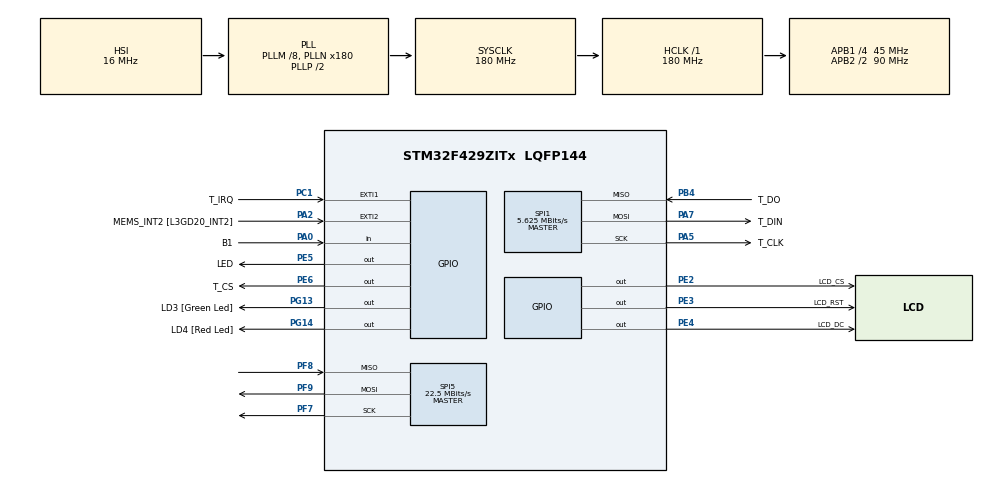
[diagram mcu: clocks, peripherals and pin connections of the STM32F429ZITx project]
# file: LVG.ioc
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Dma.Request0=SPI5_TX
Dma.Request1=SPI5_RX
Dma.SPI5_RX.1.Direction=DMA_PERIPH_TO_MEMORY
Dma.SPI5_RX.1.FIFOMode=DMA_FIFOMODE_DISABLE
Dma.SPI5_RX.1.Instance=DMA2_Stream3
Dma.SPI5_RX.1.MemDataAlignment=DMA_MDATAALIGN_BYTE
Dma.SPI5_RX.1.MemInc=DMA_MINC_ENABLE
Dma.SPI5_RX.1.Mode=DMA_CIRCULAR
Dma.SPI5_RX.1.PeriphDataAlignment=DMA_PDATAALIGN_BYTE
Dma.SPI5_RX.1.PeriphInc=DMA_PINC_DISABLE
Dma.SPI5_RX.1.Priority=DMA_PRIORITY_HIGH
Dma.SPI5_TX.0.Direction=DMA_MEMORY_TO_PERIPH
Dma.SPI5_TX.0.FIFOMode=DMA_FIFOMODE_DISABLE
Dma.SPI5_TX.0.Instance=DMA2_Stream4
Dma.SPI5_TX.0.MemDataAlignment=DMA_MDATAALIGN_BYTE
Dma.SPI5_TX.0.MemInc=DMA_MINC_ENABLE
Dma.SPI5_TX.0.Mode=DMA_NORMAL
Dma.SPI5_TX.0.PeriphDataAlignment=DMA_PDATAALIGN_BYTE
Dma.SPI5_TX.0.PeriphInc=DMA_PINC_DISABLE
Dma.SPI5_TX.0.Priority=DMA_PRIORITY_HIGH
Mcu.Family=STM32F4
Mcu.Name=STM32F429ZITx
Mcu.Package=LQFP144
NVIC.DMA2_Stream3_IRQn=true\:0\:0\:false\:false\:true\:false\:true\:true
NVIC.DMA2_Stream4_IRQn=true\:0\:0\:false\:false\:true\:false\:true\:true
NVIC.EXTI1_IRQn=true\:0\:0\:false\:false\:true\:true\:true\:true
NVIC.PriorityGroup=NVIC_PRIORITYGROUP_4
NVIC.SPI5_IRQn=true\:0\:0\:false\:false\:true\:true\:true\:true
NVIC.TIM1_TRG_COM_TIM11_IRQn=true\:15\:0\:false\:false\:true\:false\:true\:true
NVIC.TIM2_IRQn=true\:0\:0\:false\:false\:true\:true\:true\:true
NVIC.TIM6_DAC_IRQn=true\:0\:0\:false\:false\:true\:true\:true\:true
NVIC.TimeBase=TIM1_TRG_COM_TIM11_IRQn
NVIC.TimeBaseIP=TIM11
PA0/WKUP.GPIO_Label=B1
PA0/WKUP.Signal=GPIO_Input
PA10.GPIO_Label=STLINK_TX [STM32F103CBT6_PA2]
PA10.Signal=USART1_RX
PA11.GPIO_Label=R4
PA11.GPIO_Mode=GPIO_MODE_AF_PP
PA11.GPIO_PuPd=GPIO_NOPULL
PA11.GPIO_Speed=GPIO_SPEED_FREQ_LOW
PA11.Signal=LTDC_R4
PA12.GPIO_Label=R5
PA12.GPIO_Mode=GPIO_MODE_AF_PP
PA12.GPIO_PuPd=GPIO_NOPULL
PA12.GPIO_Speed=GPIO_SPEED_FREQ_LOW
PA12.Signal=LTDC_R5
PA13.GPIO_Label=SWDIO
PA13.Signal=SYS_JTMS-SWDIO
PA14.GPIO_Label=SWCLK
PA14.Signal=SYS_JTCK-SWCLK
PA2.GPIO_Label=MEMS_INT2 [L3GD20_INT2]
PA2.GPIO_ModeDefaultEXTI=GPIO_MODE_EVT_RISING
PA2.GPIO_PuPd=GPIO_NOPULL
PA2.Signal=GPXTI2
PA3.GPIO_Label=B5
PA3.GPIO_Mode=GPIO_MODE_AF_PP
PA3.GPIO_PuPd=GPIO_NOPULL
PA3.GPIO_Speed=GPIO_SPEED_FREQ_LOW
PA3.Signal=LTDC_B5
PA4.GPIO_Label=VSYNC
PA4.GPIO_Mode=GPIO_MODE_AF_PP
PA4.GPIO_PuPd=GPIO_NOPULL
PA4.GPIO_Speed=GPIO_SPEED_FREQ_LOW
PA4.Signal=LTDC_VSYNC
PA5.GPIO_Label=T_CLK
PA5.Mode=Full_Duplex_Master
PA5.Signal=SPI1_SCK
PA6.GPIO_Label=G2
PA6.GPIO_Mode=GPIO_MODE_AF_PP
PA6.GPIO_PuPd=GPIO_NOPULL
PA6.GPIO_Speed=GPIO_SPEED_FREQ_LOW
PA6.Signal=LTDC_G2
PA7.GPIO_Label=T_DIN
PA7.Mode=Full_Duplex_Master
PA7.Signal=SPI1_MOSI
PA8.GPIO_Label=I2C3_SCL [ACP/RF_SCL]
PA8.GPIO_Mode=GPIO_MODE_AF_OD
PA8.GPIO_PuPd=GPIO_NOPULL
PA8.GPIO_Speed=GPIO_SPEED_FREQ_LOW
PA8.Signal=I2C3_SCL
PA9.GPIO_Label=STLINK_RX [STM32F103CBT6_PA3]
PA9.Signal=USART1_TX
PB0.GPIO_Label=R3
PB0.GPIO_Mode=GPIO_MODE_AF_PP
PB0.GPIO_PuPd=GPIO_NOPULL
PB0.GPIO_Speed=GPIO_SPEED_FREQ_LOW
PB0.Signal=LTDC_R3
PB1.GPIO_Label=R6
PB1.GPIO_Mode=GPIO_MODE_AF_PP
PB1.GPIO_PuPd=GPIO_NOPULL
PB1.GPIO_Speed=GPIO_SPEED_FREQ_LOW
PB1.Signal=LTDC_R6
PB10.GPIO_Label=G4
PB10.GPIO_Mode=GPIO_MODE_AF_PP
PB10.GPIO_PuPd=GPIO_NOPULL
PB10.GPIO_Speed=GPIO_SPEED_FREQ_LOW
PB10.Signal=LTDC_G4
PB11.GPIO_Label=G5
PB11.GPIO_Mode=GPIO_MODE_AF_PP
PB11.GPIO_PuPd=GPIO_NOPULL
PB11.GPIO_Speed=GPIO_SPEED_FREQ_LOW
PB11.Signal=LTDC_G5
PB12.GPIO_Label=OTG_HS_ID
PB12.GPIO_Mode=GPIO_MODE_AF_PP
PB12.GPIO_PuPd=GPIO_NOPULL
PB12.GPIO_Speed=GPIO_SPEED_FREQ_LOW
PB12.Signal=USB_OTG_HS_ID
PB13.GPIO_Label=VBUS_HS
PB13.GPIO_Mode=GPIO_MODE_INPUT
PB13.GPIO_PuPd=GPIO_NOPULL
PB13.Signal=USB_OTG_HS_VBUS
PB14.GPIO_Label=OTG_HS_DM
PB14.GPIO_Mode=GPIO_MODE_AF_PP
PB14.GPIO_PuPd=GPIO_NOPULL
PB14.GPIO_Speed=GPIO_SPEED_FREQ_LOW
PB14.Signal=USB_OTG_HS_DM
PB15.GPIO_Label=OTG_HS_DP
PB15.GPIO_Mode=GPIO_MODE_AF_PP
PB15.GPIO_PuPd=GPIO_NOPULL
PB15.GPIO_Speed=GPIO_SPEED_FREQ_LOW
PB15.Signal=USB_OTG_HS_DP
PB4.GPIO_Label=T_DO
PB4.Mode=Full_Duplex_Master
PB4.Signal=SPI1_MISO
PB5.GPIO_Label=SDCKE1
PB5.GPIO_Mode=GPIO_MODE_AF_PP
PB5.GPIO_PuPd=GPIO_NOPULL
PB5.GPIO_Speed=GPIO_SPEED_FREQ_VERY_HIGH
PB5.Signal=FMC_SDCKE1
PB6.GPIO_Label=SDNE1 [SDRAM_CS]
PB6.GPIO_Mode=GPIO_MODE_AF_PP
PB6.GPIO_PuPd=GPIO_NOPULL
PB6.GPIO_Speed=GPIO_SPEED_FREQ_VERY_HIGH
PB6.Signal=FMC_SDNE1
PB8.GPIO_Label=B6
PB8.GPIO_Mode=GPIO_MODE_AF_PP
PB8.GPIO_PuPd=GPIO_NOPULL
PB8.GPIO_Speed=GPIO_SPEED_FREQ_LOW
PB8.Signal=LTDC_B6
PB9.GPIO_Label=B7
PB9.GPIO_Mode=GPIO_MODE_AF_PP
PB9.GPIO_PuPd=GPIO_NOPULL
PB9.GPIO_Speed=GPIO_SPEED_FREQ_LOW
PB9.Signal=LTDC_B7
PC1.GPIO_Label=T_IRQ
PC1.Signal=GPXTI1
PC10.GPIO_Label=R2
PC10.GPIO_Mode=GPIO_MODE_AF_PP
PC10.GPIO_PuPd=GPIO_NOPULL
PC10.GPIO_Speed=GPIO_SPEED_FREQ_LOW
PC10.Signal=LTDC_R2
PC6.GPIO_Label=HSYNC
PC6.GPIO_Mode=GPIO_MODE_AF_PP
PC6.GPIO_PuPd=GPIO_NOPULL
PC6.GPIO_Speed=GPIO_SPEED_FREQ_LOW
PC6.Signal=LTDC_HSYNC
PC7.GPIO_Label=G6
PC7.GPIO_Mode=GPIO_MODE_AF_PP
PC7.GPIO_PuPd=GPIO_NOPULL
PC7.GPIO_Speed=GPIO_SPEED_FREQ_LOW
PC7.Signal=LTDC_G6
PC9.GPIO_Label=I2C3_SDA [ACP/RF_SDA]
PC9.GPIO_Mode=GPIO_MODE_AF_OD
PC9.GPIO_PuPd=GPIO_NOPULL
PC9.GPIO_Speed=GPIO_SPEED_FREQ_LOW
PC9.Signal=I2C3_SDA
PD0.GPIO_Label=D2
PD0.GPIO_Mode=GPIO_MODE_AF_PP
PD0.GPIO_PuPd=GPIO_NOPULL
PD0.GPIO_Speed=GPIO_SPEED_FREQ_VERY_HIGH
PD0.Signal=FMC_D2_DA2
PD1.GPIO_Label=D3
PD1.GPIO_Mode=GPIO_MODE_AF_PP
PD1.GPIO_PuPd=GPIO_NOPULL
PD1.GPIO_Speed=GPIO_SPEED_FREQ_VERY_HIGH
PD1.Signal=FMC_D3_DA3
PD10.GPIO_Label=D15
PD10.GPIO_Mode=GPIO_MODE_AF_PP
PD10.GPIO_PuPd=GPIO_NOPULL
PD10.GPIO_Speed=GPIO_SPEED_FREQ_VERY_HIGH
PD10.Signal=FMC_D15_DA15
PD14.GPIO_Label=D0
PD14.GPIO_Mode=GPIO_MODE_AF_PP
PD14.GPIO_PuPd=GPIO_NOPULL
PD14.GPIO_Speed=GPIO_SPEED_FREQ_VERY_HIGH
PD14.Signal=FMC_D0_DA0
PD15.GPIO_Label=D1
PD15.GPIO_Mode=GPIO_MODE_AF_PP
PD15.GPIO_PuPd=GPIO_NOPULL
PD15.GPIO_Speed=GPIO_SPEED_FREQ_VERY_HIGH
PD15.Signal=FMC_D1_DA1
PD3.GPIO_Label=G7
PD3.GPIO_Mode=GPIO_MODE_AF_PP
PD3.GPIO_PuPd=GPIO_NOPULL
PD3.GPIO_Speed=GPIO_SPEED_FREQ_LOW
PD3.Signal=LTDC_G7
PD6.GPIO_Label=B2
PD6.GPIO_Mode=GPIO_MODE_AF_PP
PD6.GPIO_PuPd=GPIO_NOPULL
PD6.GPIO_Speed=GPIO_SPEED_FREQ_LOW
PD6.Signal=LTDC_B2
PD8.GPIO_Label=D13
PD8.GPIO_Mode=GPIO_MODE_AF_PP
PD8.GPIO_PuPd=GPIO_NOPULL
PD8.GPIO_Speed=GPIO_SPEED_FREQ_VERY_HIGH
PD8.Signal=FMC_D13_DA13
PD9.GPIO_Label=D14
PD9.GPIO_Mode=GPIO_MODE_AF_PP
PD9.GPIO_PuPd=GPIO_NOPULL
PD9.GPIO_Speed=GPIO_SPEED_FREQ_VERY_HIGH
PD9.Signal=FMC_D14_DA14
PE0.GPIO_Label=NBL0 [SDRAM_LDQM]
PE0.GPIO_Mode=GPIO_MODE_AF_PP
PE0.GPIO_PuPd=GPIO_NOPULL
PE0.GPIO_Speed=GPIO_SPEED_FREQ_VERY_HIGH
PE0.Signal=FMC_NBL0
PE1.GPIO_Label=NBL1 [SDRAM_UDQM]
PE1.GPIO_Mode=GPIO_MODE_AF_PP
PE1.GPIO_PuPd=GPIO_NOPULL
PE1.GPIO_Speed=GPIO_SPEED_FREQ_VERY_HIGH
PE1.Signal=FMC_NBL1
PE10.GPIO_Label=D7
PE10.GPIO_Mode=GPIO_MODE_AF_PP
PE10.GPIO_PuPd=GPIO_NOPULL
PE10.GPIO_Speed=GPIO_SPEED_FREQ_VERY_HIGH
PE10.Signal=FMC_D7_DA7
PE11.GPIO_Label=D8
PE11.GPIO_Mode=GPIO_MODE_AF_PP
PE11.GPIO_PuPd=GPIO_NOPULL
PE11.GPIO_Speed=GPIO_SPEED_FREQ_VERY_HIGH
PE11.Signal=FMC_D8_DA8
PE12.GPIO_Label=D9
PE12.GPIO_Mode=GPIO_MODE_AF_PP
PE12.GPIO_PuPd=GPIO_NOPULL
PE12.GPIO_Speed=GPIO_SPEED_FREQ_VERY_HIGH
PE12.Signal=FMC_D9_DA9
PE13.GPIO_Label=D10
PE13.GPIO_Mode=GPIO_MODE_AF_PP
PE13.GPIO_PuPd=GPIO_NOPULL
PE13.GPIO_Speed=GPIO_SPEED_FREQ_VERY_HIGH
PE13.Signal=FMC_D10_DA10
PE14.GPIO_Label=D11
PE14.GPIO_Mode=GPIO_MODE_AF_PP
PE14.GPIO_PuPd=GPIO_NOPULL
PE14.GPIO_Speed=GPIO_SPEED_FREQ_VERY_HIGH
PE14.Signal=FMC_D11_DA11
PE15.GPIO_Label=D12
PE15.GPIO_Mode=GPIO_MODE_AF_PP
PE15.GPIO_PuPd=GPIO_NOPULL
PE15.GPIO_Speed=GPIO_SPEED_FREQ_VERY_HIGH
PE15.Signal=FMC_D12_DA12
PE2.GPIO_Label=LCD_CS
PE2.GPIO_PuPd=GPIO_PULLUP
PE2.Signal=GPIO_Output
PE3.GPIO_Label=LCD_RST
PE3.GPIO_PuPd=GPIO_PULLUP
PE3.Signal=GPIO_Output
PE4.GPIO_Label=LCD_DC
PE4.GPIO_PuPd=GPIO_PULLUP
PE4.Signal=GPIO_Output
PE5.GPIO_Label=LED
PE5.Signal=GPIO_Output
PE6.GPIO_Label=T_CS
PE6.GPIO_PuPd=GPIO_PULLUP
PE6.Signal=GPIO_Output
PE7.GPIO_Label=D4
PE7.GPIO_Mode=GPIO_MODE_AF_PP
PE7.GPIO_PuPd=GPIO_NOPULL
PE7.GPIO_Speed=GPIO_SPEED_FREQ_VERY_HIGH
PE7.Signal=FMC_D4_DA4
PE8.GPIO_Label=D5
PE8.GPIO_Mode=GPIO_MODE_AF_PP
PE8.GPIO_PuPd=GPIO_NOPULL
PE8.GPIO_Speed=GPIO_SPEED_FREQ_VERY_HIGH
PE8.Signal=FMC_D5_DA5
PE9.GPIO_Label=D6
PE9.GPIO_Mode=GPIO_MODE_AF_PP
PE9.GPIO_PuPd=GPIO_NOPULL
PE9.GPIO_Speed=GPIO_SPEED_FREQ_VERY_HIGH
PE9.Signal=FMC_D6_DA6
PF11.GPIO_Label=SDNRAS
PF11.GPIO_Mode=GPIO_MODE_AF_PP
PF11.GPIO_PuPd=GPIO_NOPULL
PF11.GPIO_Speed=GPIO_SPEED_FREQ_VERY_HIGH
PF11.Signal=FMC_SDNRAS
PF12.GPIO_Label=A6
PF12.GPIO_Mode=GPIO_MODE_AF_PP
PF12.GPIO_PuPd=GPIO_NOPULL
PF12.GPIO_Speed=GPIO_SPEED_FREQ_VERY_HIGH
PF12.Signal=FMC_A6
PF13.GPIO_Label=A7
PF13.GPIO_Mode=GPIO_MODE_AF_PP
PF13.GPIO_PuPd=GPIO_NOPULL
PF13.GPIO_Speed=GPIO_SPEED_FREQ_VERY_HIGH
PF13.Signal=FMC_A7
PF14.GPIO_Label=A8
PF14.GPIO_Mode=GPIO_MODE_AF_PP
PF14.GPIO_PuPd=GPIO_NOPULL
PF14.GPIO_Speed=GPIO_SPEED_FREQ_VERY_HIGH
PF14.Signal=FMC_A8
PF15.GPIO_Label=A9
PF15.GPIO_Mode=GPIO_MODE_AF_PP
PF15.GPIO_PuPd=GPIO_NOPULL
PF15.GPIO_Speed=GPIO_SPEED_FREQ_VERY_HIGH
PF15.Signal=FMC_A9
PF7.Mode=Full_Duplex_Master
PF7.Signal=SPI5_SCK
PF8.Mode=Full_Duplex_Master
PF8.Signal=SPI5_MISO
PF9.Mode=Full_Duplex_Master
PF9.Signal=SPI5_MOSI
PG0.GPIO_Label=A10
PG0.GPIO_Mode=GPIO_MODE_AF_PP
PG0.GPIO_PuPd=GPIO_NOPULL
PG0.GPIO_Speed=GPIO_SPEED_FREQ_VERY_HIGH
PG0.Signal=FMC_A10
PG1.GPIO_Label=A11
PG1.GPIO_Mode=GPIO_MODE_AF_PP
PG1.GPIO_PuPd=GPIO_NOPULL
PG1.GPIO_Speed=GPIO_SPEED_FREQ_VERY_HIGH
PG1.Signal=FMC_A11
PG10.GPIO_Label=G3
PG10.GPIO_Mode=GPIO_MODE_AF_PP
PG10.GPIO_PuPd=GPIO_NOPULL
PG10.GPIO_Speed=GPIO_SPEED_FREQ_LOW
PG10.Signal=LTDC_G3
PG11.GPIO_Label=B3
PG11.GPIO_Mode=GPIO_MODE_AF_PP
PG11.GPIO_PuPd=GPIO_NOPULL
PG11.GPIO_Speed=GPIO_SPEED_FREQ_LOW
PG11.Signal=LTDC_B3
PG12.GPIO_Label=B4
PG12.GPIO_Mode=GPIO_MODE_AF_PP
PG12.GPIO_PuPd=GPIO_NOPULL
PG12.GPIO_Speed=GPIO_SPEED_FREQ_LOW
PG12.Signal=LTDC_B4
PG13.GPIO_Label=LD3 [Green Led]
PG13.GPIO_Mode=GPIO_MODE_OUTPUT_PP
PG13.GPIO_PuPd=GPIO_NOPULL
PG13.GPIO_Speed=GPIO_SPEED_FREQ_LOW
PG13.Signal=GPIO_Output
PG14.GPIO_Label=LD4 [Red Led]
PG14.GPIO_Mode=GPIO_MODE_OUTPUT_PP
PG14.GPIO_PuPd=GPIO_NOPULL
PG14.GPIO_Speed=GPIO_SPEED_FREQ_LOW
PG14.Signal=GPIO_Output
PG15.GPIO_Label=SDNCAS
PG15.GPIO_Mode=GPIO_MODE_AF_PP
PG15.GPIO_PuPd=GPIO_NOPULL
PG15.GPIO_Speed=GPIO_SPEED_FREQ_VERY_HIGH
PG15.Signal=FMC_SDNCAS
PG4.GPIO_Label=BA0
PG4.GPIO_Mode=GPIO_MODE_AF_PP
PG4.GPIO_PuPd=GPIO_NOPULL
PG4.GPIO_Speed=GPIO_SPEED_FREQ_VERY_HIGH
PG4.Signal=FMC_A14_BA0
PG5.GPIO_Label=BA1
PG5.GPIO_Mode=GPIO_MODE_AF_PP
PG5.GPIO_PuPd=GPIO_NOPULL
PG5.GPIO_Speed=GPIO_SPEED_FREQ_VERY_HIGH
PG5.Signal=FMC_A15_BA1
PG6.GPIO_Label=R7
PG6.GPIO_Mode=GPIO_MODE_AF_PP
PG6.GPIO_PuPd=GPIO_NOPULL
PG6.GPIO_Speed=GPIO_SPEED_FREQ_LOW
PG6.Signal=LTDC_R7
PG7.GPIO_Label=DOTCLK [LCT-RGB_DOTCLK]
PG7.GPIO_Mode=GPIO_MODE_AF_PP
PG7.GPIO_PuPd=GPIO_NOPULL
PG7.GPIO_Speed=GPIO_SPEED_FREQ_LOW
PG7.Signal=LTDC_CLK
PG8.GPIO_Label=SDCLK
PG8.GPIO_Mode=GPIO_MODE_AF_PP
PG8.GPIO_PuPd=GPIO_NOPULL
PG8.GPIO_Speed=GPIO_SPEED_FREQ_VERY_HIGH
PG8.Signal=FMC_SDCLK
ProjectManager.HeapSize=0x200
ProjectManager.StackSize=0xC00
ProjectManager.TargetToolchain=MDK-ARM V5
RCC.48MHZClocksFreq_Value=51428571.428571425
RCC.AHBFreq_Value=180000000
RCC.APB1CLKDivider=RCC_HCLK_DIV4
RCC.APB1Freq_Value=45000000
RCC.APB1TimFreq_Value=90000000
RCC.APB2CLKDivider=RCC_HCLK_DIV2
RCC.APB2Freq_Value=90000000
RCC.APB2TimFreq_Value=180000000
RCC.CortexFreq_Value=180000000
RCC.HCLKFreq_Value=180000000
RCC.HSE_VALUE=8000000
RCC.HSI_VALUE=16000000
RCC.LSE_VALUE=32768
RCC.PLLM=8
RCC.PLLN=180
RCC.PLLQ=7
RCC.SYSCLKFreq_VALUE=180000000
RCC.SYSCLKSource=RCC_SYSCLKSOURCE_PLLCLK
RCC.VCOOutputFreq_Value=360000000
SH.FMC_A10.0=FMC_A10
SH.FMC_A11.0=FMC_A11
SH.FMC_A14_BA0.0=FMC_BA0
SH.FMC_A15_BA1.0=FMC_BA1
SH.FMC_A6.0=FMC_A6
SH.FMC_A7.0=FMC_A7
SH.FMC_A8.0=FMC_A8
SH.FMC_A9.0=FMC_A9
SH.FMC_D0_DA0.0=FMC_D0
SH.FMC_D10_DA10.0=FMC_D10
SH.FMC_D11_DA11.0=FMC_D11
SH.FMC_D12_DA12.0=FMC_D12
SH.FMC_D13_DA13.0=FMC_D13
SH.FMC_D14_DA14.0=FMC_D14
SH.FMC_D15_DA15.0=FMC_D15
SH.FMC_D1_DA1.0=FMC_D1
SH.FMC_D2_DA2.0=FMC_D2
SH.FMC_D3_DA3.0=FMC_D3
SH.FMC_D4_DA4.0=FMC_D4
SH.FMC_D5_DA5.0=FMC_D5
SH.FMC_D6_DA6.0=FMC_D6
SH.FMC_D7_DA7.0=FMC_D7
SH.FMC_D8_DA8.0=FMC_D8
SH.FMC_D9_DA9.0=FMC_D9
SH.FMC_NBL0.0=FMC_NBL0
SH.FMC_NBL1.0=FMC_NBL1
SH.FMC_SDCLK.0=FMC_SDCLK
SH.FMC_SDNCAS.0=FMC_SDNCAS
SH.FMC_SDNRAS.0=FMC_SDNRAS
SPI1.BaudRatePrescaler=SPI_BAUDRATEPRESCALER_16
SPI1.CalculateBaudRate=5.625 MBits/s
SPI1.Direction=SPI_DIRECTION_2LINES
SPI1.Mode=SPI_MODE_MASTER
SPI1.VirtualType=VM_MASTER
SPI5.BaudRatePrescaler=SPI_BAUDRATEPRESCALER_4
SPI5.CalculateBaudRate=22.5 MBits/s
SPI5.DataSize=SPI_DATASIZE_8BIT
SPI5.Direction=SPI_DIRECTION_2LINES
SPI5.Mode=SPI_MODE_MASTER
SPI5.VirtualType=VM_MASTER
STMicroelectronics.X-CUBE-TOUCHGFX.4.20.0.ApplicationCcGraphicsJjApplication=TouchGFXOoGenerator
STMicroelectronics.X-CUBE-TOUCHGFX.4.20.0.tgfx_buffering_strategy=Partial
STMicroelectronics.X-CUBE-TOUCHGFX.4.20.0.tgfx_custom_height=240
STMicroelectronics.X-CUBE-TOUCHGFX.4.20.0.tgfx_custom_width=320
STMicroelectronics.X-CUBE-TOUCHGFX.4.20.0.tgfx_datareader=Disabled
STMicroelectronics.X-CUBE-TOUCHGFX.4.20.0.tgfx_hardware_accelerator=dma_none
STMicroelectronics.X-CUBE-TOUCHGFX.4.20.0.tgfx_oswrapper=NoOS
STMicroelectronics.X-CUBE-TOUCHGFX.4.20.0_IsPackSelfContextualization=true
TIM2.Period=50000
TIM2.Prescaler=100-1
TIM6.Period=16800
TIM6.Prescaler=3999
VP_CRC_VS_CRC.Mode=CRC_Activate
VP_STMicroelectronics.X-CUBE-TOUCHGFX_VS_GraphicsJjApplication_4.20.0.Mode=GraphicsJjApplication
VP_SYS_VS_tim11.Mode=TIM11
VP_TIM2_VS_ClockSourceINT.Mode=Internal
VP_TIM6_VS_ClockSourceINT.Mode=Enable_Timer
board=STM32F429I-DISC1

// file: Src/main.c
/* USER CODE BEGIN Header */
/**
  ******************************************************************************
  * @file           : main.c
  * @brief          : Main program body
  ******************************************************************************
  * @attention
  *
  * Copyright (c) 2022 STMicroelectronics.
  * All rights reserved.
  *
  * This software is licensed under terms that can be found in the LICENSE file
  * in the root directory of this software component.
  * If no LICENSE file comes with this software, it is provided AS-IS.
  *
  ******************************************************************************
  */
/* USER CODE END Header */
#include "main.h"
#include "app_touchgfx.h"

/* USER CODE BEGIN Includes */

#include "ili9341.h"
#include "xpt2046.h"

/* USER CODE END Includes */

CRC_HandleTypeDef hcrc;

SPI_HandleTypeDef hspi1;
SPI_HandleTypeDef hspi5;
DMA_HandleTypeDef hdma_spi5_tx;
DMA_HandleTypeDef hdma_spi5_rx;

TIM_HandleTypeDef htim2;
TIM_HandleTypeDef htim6;

void SystemClock_Config(void);
static void MX_GPIO_Init(void);
static void MX_DMA_Init(void);
static void MX_TIM6_Init(void);
static void MX_SPI1_Init(void);
static void MX_SPI5_Init(void);
static void MX_CRC_Init(void);
static void MX_TIM2_Init(void);

/* USER CODE BEGIN 0 */
#define Set_RST    HAL_GPIO_WritePin(GPIOE,GPIO_PIN_3,GPIO_PIN_SET);   //RST=1;
#define Clr_RST    HAL_GPIO_WritePin(GPIOE,GPIO_PIN_3,GPIO_PIN_RESET); //RST=0; E3

#define Set_DC 		HAL_GPIO_WritePin(GPIOE,GPIO_PIN_4,GPIO_PIN_SET);   //DC=1;   E4
#define Clr_DC 		HAL_GPIO_WritePin(GPIOE,GPIO_PIN_4,GPIO_PIN_RESET); //DC=0;

#define Set_CS 		HAL_GPIO_WritePin(GPIOE,GPIO_PIN_2,GPIO_PIN_SET);    //CS=1;  E2
#define Clr_CS 		HAL_GPIO_WritePin(GPIOE,GPIO_PIN_2,GPIO_PIN_RESET);  //CS=0;

void ILI9341_SendCommand(uint8_t Command)
{
uint8_t SPI_Data = Command;
Clr_DC;
//Clr_CS;
HAL_SPI_Transmit(&hspi5, &SPI_Data, 1, HAL_MAX_DELAY);
 // HAL_SPI_Transmit_DMA(&hspi5, &SPI_Data,1);
 //Set_CS;
}

void ILI9341_SendData(uint8_t Data)
{
uint8_t SPI_Data = Data;
Set_DC;
//Clr_CS;
 HAL_SPI_Transmit(&hspi5, &SPI_Data, 1, HAL_MAX_DELAY);
 // HAL_SPI_Transmit_DMA(&hspi5, &SPI_Data, 1);
// Set_CS;

}

 void ili9341_hspi_init()
{
	 Set_RST;
   //Clr_CS;
	// Set_CS;

   ILI9341_SendCommand (ILI9341_RESET);  //'01'// software reset comand
   HAL_Delay(100);
   ILI9341_SendCommand (ILI9341_DISPLAY_OFF); // display off 0x28
   //------------power control------------------------------
   ILI9341_SendCommand (ILI9341_POWER1); // power control '0xC0'
   ILI9341_SendData   (0x26); // GVDD = 4.75v
   ILI9341_SendCommand (ILI9341_POWER2); // power control '0xC1'
   ILI9341_SendData   (0x11); // AVDD=VCIx2, VGH=VCIx7, VGL=-VCIx3
   //--------------VCOM-------------------------------------
   ILI9341_SendCommand (ILI9341_VCOM1); // vcom control   '0xC5'
   ILI9341_SendData   (0x35); // Set the VCOMH voltage (0x35 = 4.025v)
   ILI9341_SendData   (0x3e); // Set the VCOML voltage (0x3E = -0.950v)
   ILI9341_SendCommand (ILI9341_VCOM2); // vcom control  '0xC7'
   ILI9341_SendData   (0xbe);

   //------------memory access control------------------------
   ILI9341_SendCommand (ILI9341_MAC); // memory access control  '0x36'
   ILI9341_SendData(0x48);

   ILI9341_SendCommand (ILI9341_PIXEL_FORMAT); // pixel format set '0x3A'
   ILI9341_SendData   (0x55); // 16bit /pixel

	 ILI9341_SendCommand(ILI9341_FRC);         //'0xB1'
   ILI9341_SendData(0);
   ILI9341_SendData(0x1F);
   //-------------ddram ----------------------------
   ILI9341_SendCommand (ILI9341_COLUMN_ADDR); // column set  '0x2A'
   ILI9341_SendData   (0x00); // x0_HIGH---0
   ILI9341_SendData   (0x00); // x0_LOW----0
   ILI9341_SendData   (0x00); // x1_HIGH---240
   ILI9341_SendData   (0xEF); // x1_LOW----240
   ILI9341_SendCommand (ILI9341_PAGE_ADDR); // page address set  '0x2B'
   ILI9341_SendData   (0x00); // y0_HIGH---0
   ILI9341_SendData   (0x00); // y0_LOW----0
   ILI9341_SendData   (0x01); // y1_HIGH---320
   ILI9341_SendData   (0x3F); // y1_LOW----320

   ILI9341_SendCommand (ILI9341_TEARING_OFF); // tearing effect off   '0x34'
   //LCD_write_cmd(ILI9341_TEARING_ON); // tearing effect on
   //LCD_write_cmd(ILI9341_DISPLAY_INVERSION); // display inversion   '0xb4'
   ILI9341_SendCommand (ILI9341_Entry_Mode_Set); // entry mode set    '0xB7'
   // Deep Standby Mode: OFF
   // Set the output level of gate driver G1-G320: Normal display
   // Low voltage detection: Disable
   ILI9341_SendData   (0x07);
   //-----------------display------------------------
   ILI9341_SendCommand (ILI9341_DFC); // display function control
   //Set the scan mode in non-display area    '0xB6'
   //Determine source/VCOM output in a non-display area in the partial display mode
   ILI9341_SendData   (0x0a);
   //Select whether the liquid crystal type is normally white type or normally black type
   //Sets the direction of scan by the gate driver in the range determined by SCN and NL
   //Select the shift direction of outputs from the source driver
   //Sets the gate driver pin arrangement in combination with the GS bit to select the optimal scan mode for the module
   //Specify the scan cycle interval of gate driver in non-display area when PTG to select interval scan
   ILI9341_SendData   (0x82);
   // Sets the number of lines to drive the LCD at an interval of 8 lines
   ILI9341_SendData   (0x27);
   ILI9341_SendData   (0x00); // clock divisor

   ILI9341_SendCommand (ILI9341_SLEEP_OUT); // sleep out   '0x11'
   HAL_Delay(100);
   ILI9341_SendCommand (ILI9341_DISPLAY_ON); // display on   '0x29'
   HAL_Delay(100);
   ILI9341_SendCommand (ILI9341_GRAM); // memory write    '0x2C'
   HAL_Delay(5);
 }

/* USER CODE END 0 */

int main(void)
{

  /* MCU Configuration--------------------------------------------------------*/

  /* Reset of all peripherals, Initializes the Flash interface and the Systick. */
  HAL_Init();

  /* Configure the system clock */
  SystemClock_Config();

  /* Initialize all configured peripherals */
  MX_GPIO_Init();
  MX_DMA_Init();
  MX_TIM6_Init();
  MX_SPI1_Init();
  MX_SPI5_Init();
  MX_CRC_Init();
  MX_TIM2_Init();
  MX_TouchGFX_Init();
  /* USER CODE BEGIN 2 */

   HAL_TIM_Base_Start_IT(&htim6);
	 HAL_TIM_Base_Start_IT(&htim2);
	  ili9341_hspi_init();
	//ILI9341_Fill(COLOR_RED);
  	XPT2046_Init();
	  ILI9341_setRotation(4);

  /* USER CODE END 2 */

  /* Infinite loop */
  while (1)
  {

  MX_TouchGFX_Process();
  }
}

void SystemClock_Config(void)
{
  RCC_OscInitTypeDef RCC_OscInitStruct = {0};
  RCC_ClkInitTypeDef RCC_ClkInitStruct = {0};

  /** Configure the main internal regulator output voltage
  */
  __HAL_RCC_PWR_CLK_ENABLE();
  __HAL_PWR_VOLTAGESCALING_CONFIG(PWR_REGULATOR_VOLTAGE_SCALE1);

  /** Initializes the RCC Oscillators according to the specified parameters
  * in the RCC_OscInitTypeDef structure.
  */
  RCC_OscInitStruct.OscillatorType = RCC_OSCILLATORTYPE_HSI;
  RCC_OscInitStruct.HSIState = RCC_HSI_ON;
  RCC_OscInitStruct.HSICalibrationValue = RCC_HSICALIBRATION_DEFAULT;
  RCC_OscInitStruct.PLL.PLLState = RCC_PLL_ON;
  RCC_OscInitStruct.PLL.PLLSource = RCC_PLLSOURCE_HSI;
  RCC_OscInitStruct.PLL.PLLM = 8;
  RCC_OscInitStruct.PLL.PLLN = 180;
  RCC_OscInitStruct.PLL.PLLP = RCC_PLLP_DIV2;
  RCC_OscInitStruct.PLL.PLLQ = 7;
  if (HAL_RCC_OscConfig(&RCC_OscInitStruct) != HAL_OK)
  {
    Error_Handler();
  }

  /** Activate the Over-Drive mode
  */
  if (HAL_PWREx_EnableOverDrive() != HAL_OK)
  {
    Error_Handler();
  }

  /** Initializes the CPU, AHB and APB buses clocks
  */
  RCC_ClkInitStruct.ClockType = RCC_CLOCKTYPE_HCLK|RCC_CLOCKTYPE_SYSCLK
                              |RCC_CLOCKTYPE_PCLK1|RCC_CLOCKTYPE_PCLK2;
  RCC_ClkInitStruct.SYSCLKSource = RCC_SYSCLKSOURCE_PLLCLK;
  RCC_ClkInitStruct.AHBCLKDivider = RCC_SYSCLK_DIV1;
  RCC_ClkInitStruct.APB1CLKDivider = RCC_HCLK_DIV4;
  RCC_ClkInitStruct.APB2CLKDivider = RCC_HCLK_DIV2;

  if (HAL_RCC_ClockConfig(&RCC_ClkInitStruct, FLASH_LATENCY_5) != HAL_OK)
  {
    Error_Handler();
  }
}

static void MX_CRC_Init(void)
{

  hcrc.Instance = CRC;
  if (HAL_CRC_Init(&hcrc) != HAL_OK)
  {
    Error_Handler();
  }

}

static void MX_SPI1_Init(void)
{

  /* SPI1 parameter configuration*/
  hspi1.Instance = SPI1;
  hspi1.Init.Mode = SPI_MODE_MASTER;
  hspi1.Init.Direction = SPI_DIRECTION_2LINES;
  hspi1.Init.DataSize = SPI_DATASIZE_8BIT;
  hspi1.Init.CLKPolarity = SPI_POLARITY_LOW;
  hspi1.Init.CLKPhase = SPI_PHASE_1EDGE;
  hspi1.Init.NSS = SPI_NSS_SOFT;
  hspi1.Init.BaudRatePrescaler = SPI_BAUDRATEPRESCALER_16;
  hspi1.Init.FirstBit = SPI_FIRSTBIT_MSB;
  hspi1.Init.TIMode = SPI_TIMODE_DISABLE;
  hspi1.Init.CRCCalculation = SPI_CRCCALCULATION_DISABLE;
  hspi1.Init.CRCPolynomial = 10;
  if (HAL_SPI_Init(&hspi1) != HAL_OK)
  {
    Error_Handler();
  }

}

static void MX_SPI5_Init(void)
{

  /* SPI5 parameter configuration*/
  hspi5.Instance = SPI5;
  hspi5.Init.Mode = SPI_MODE_MASTER;
  hspi5.Init.Direction = SPI_DIRECTION_2LINES;
  hspi5.Init.DataSize = SPI_DATASIZE_8BIT;
  hspi5.Init.CLKPolarity = SPI_POLARITY_LOW;
  hspi5.Init.CLKPhase = SPI_PHASE_1EDGE;
  hspi5.Init.NSS = SPI_NSS_SOFT;
  hspi5.Init.BaudRatePrescaler = SPI_BAUDRATEPRESCALER_4;
  hspi5.Init.FirstBit = SPI_FIRSTBIT_MSB;
  hspi5.Init.TIMode = SPI_TIMODE_DISABLE;
  hspi5.Init.CRCCalculation = SPI_CRCCALCULATION_DISABLE;
  hspi5.Init.CRCPolynomial = 10;
  if (HAL_SPI_Init(&hspi5) != HAL_OK)
  {
    Error_Handler();
  }

}

static void MX_TIM2_Init(void)
{

  TIM_ClockConfigTypeDef sClockSourceConfig = {0};
  TIM_MasterConfigTypeDef sMasterConfig = {0};

  htim2.Instance = TIM2;
  htim2.Init.Prescaler = 100-1;
  htim2.Init.CounterMode = TIM_COUNTERMODE_UP;
  htim2.Init.Period = 50000;
  htim2.Init.ClockDivision = TIM_CLOCKDIVISION_DIV1;
  htim2.Init.AutoReloadPreload = TIM_AUTORELOAD_PRELOAD_DISABLE;
  if (HAL_TIM_Base_Init(&htim2) != HAL_OK)
  {
    Error_Handler();
  }
  sClockSourceConfig.ClockSource = TIM_CLOCKSOURCE_INTERNAL;
  if (HAL_TIM_ConfigClockSource(&htim2, &sClockSourceConfig) != HAL_OK)
  {
    Error_Handler();
  }
  sMasterConfig.MasterOutputTrigger = TIM_TRGO_RESET;
  sMasterConfig.MasterSlaveMode = TIM_MASTERSLAVEMODE_DISABLE;
  if (HAL_TIMEx_MasterConfigSynchronization(&htim2, &sMasterConfig) != HAL_OK)
  {
    Error_Handler();
  }

}

static void MX_TIM6_Init(void)
{

  TIM_MasterConfigTypeDef sMasterConfig = {0};

  htim6.Instance = TIM6;
  htim6.Init.Prescaler = 3999;
  htim6.Init.CounterMode = TIM_COUNTERMODE_UP;
  htim6.Init.Period = 16800;
  htim6.Init.AutoReloadPreload = TIM_AUTORELOAD_PRELOAD_DISABLE;
  if (HAL_TIM_Base_Init(&htim6) != HAL_OK)
  {
    Error_Handler();
  }
  sMasterConfig.MasterOutputTrigger = TIM_TRGO_RESET;
  sMasterConfig.MasterSlaveMode = TIM_MASTERSLAVEMODE_DISABLE;
  if (HAL_TIMEx_MasterConfigSynchronization(&htim6, &sMasterConfig) != HAL_OK)
  {
    Error_Handler();
  }

}

static void MX_DMA_Init(void)
{

  /* DMA controller clock enable */
  __HAL_RCC_DMA2_CLK_ENABLE();

  /* DMA interrupt init */
  /* DMA2_Stream3_IRQn interrupt configuration */
  HAL_NVIC_SetPriority(DMA2_Stream3_IRQn, 0, 0);
  HAL_NVIC_EnableIRQ(DMA2_Stream3_IRQn);
  /* DMA2_Stream4_IRQn interrupt configuration */
  HAL_NVIC_SetPriority(DMA2_Stream4_IRQn, 0, 0);
  HAL_NVIC_EnableIRQ(DMA2_Stream4_IRQn);

}

static void MX_GPIO_Init(void)
{
  GPIO_InitTypeDef GPIO_InitStruct = {0};

  /* GPIO Ports Clock Enable */
  __HAL_RCC_GPIOE_CLK_ENABLE();
  __HAL_RCC_GPIOF_CLK_ENABLE();
  __HAL_RCC_GPIOC_CLK_ENABLE();
  __HAL_RCC_GPIOA_CLK_ENABLE();
  __HAL_RCC_GPIOB_CLK_ENABLE();
  __HAL_RCC_GPIOG_CLK_ENABLE();
  __HAL_RCC_GPIOD_CLK_ENABLE();

  /*Configure GPIO pin Output Level */
  HAL_GPIO_WritePin(GPIOE, LCD_CS_Pin|LCD_RST_Pin|LCD_DC_Pin|LED_Pin
                          |T_CS_Pin, GPIO_PIN_RESET);

  /*Configure GPIO pin Output Level */
  HAL_GPIO_WritePin(GPIOG, LD3_Pin|LD4_Pin, GPIO_PIN_RESET);

  /*Configure GPIO pins : LCD_CS_Pin LCD_RST_Pin LCD_DC_Pin T_CS_Pin */
  GPIO_InitStruct.Pin = LCD_CS_Pin|LCD_RST_Pin|LCD_DC_Pin|T_CS_Pin;
  GPIO_InitStruct.Mode = GPIO_MODE_OUTPUT_PP;
  GPIO_InitStruct.Pull = GPIO_PULLUP;
  GPIO_InitStruct.Speed = GPIO_SPEED_FREQ_LOW;
  HAL_GPIO_Init(GPIOE, &GPIO_InitStruct);

  /*Configure GPIO pin : LED_Pin */
  GPIO_InitStruct.Pin = LED_Pin;
  GPIO_InitStruct.Mode = GPIO_MODE_OUTPUT_PP;
  GPIO_InitStruct.Pull = GPIO_NOPULL;
  GPIO_InitStruct.Speed = GPIO_SPEED_FREQ_LOW;
  HAL_GPIO_Init(LED_GPIO_Port, &GPIO_InitStruct);

  /*Configure GPIO pin : T_IRQ_Pin */
  GPIO_InitStruct.Pin = T_IRQ_Pin;
  GPIO_InitStruct.Mode = GPIO_MODE_IT_RISING;
  GPIO_InitStruct.Pull = GPIO_NOPULL;
  HAL_GPIO_Init(T_IRQ_GPIO_Port, &GPIO_InitStruct);

  /*Configure GPIO pin : B1_Pin */
  GPIO_InitStruct.Pin = B1_Pin;
  GPIO_InitStruct.Mode = GPIO_MODE_INPUT;
  GPIO_InitStruct.Pull = GPIO_NOPULL;
  HAL_GPIO_Init(B1_GPIO_Port, &GPIO_InitStruct);

  /*Configure GPIO pin : MEMS_INT2_Pin */
  GPIO_InitStruct.Pin = MEMS_INT2_Pin;
  GPIO_InitStruct.Mode = GPIO_MODE_EVT_RISING;
  GPIO_InitStruct.Pull = GPIO_NOPULL;
  HAL_GPIO_Init(MEMS_INT2_GPIO_Port, &GPIO_InitStruct);

  /*Configure GPIO pins : B5_Pin VSYNC_Pin G2_Pin R4_Pin
                           R5_Pin */
  GPIO_InitStruct.Pin = B5_Pin|VSYNC_Pin|G2_Pin|R4_Pin
                          |R5_Pin;
  GPIO_InitStruct.Mode = GPIO_MODE_AF_PP;
  GPIO_InitStruct.Pull = GPIO_NOPULL;
  GPIO_InitStruct.Speed = GPIO_SPEED_FREQ_LOW;
  GPIO_InitStruct.Alternate = GPIO_AF14_LTDC;
  HAL_GPIO_Init(GPIOA, &GPIO_InitStruct);

  /*Configure GPIO pins : R3_Pin R6_Pin */
  GPIO_InitStruct.Pin = R3_Pin|R6_Pin;
  GPIO_InitStruct.Mode = GPIO_MODE_AF_PP;
  GPIO_InitStruct.Pull = GPIO_NOPULL;
  GPIO_InitStruct.Speed = GPIO_SPEED_FREQ_LOW;
  GPIO_InitStruct.Alternate = GPIO_AF9_LTDC;
  HAL_GPIO_Init(GPIOB, &GPIO_InitStruct);

  /*Configure GPIO pins : SDNRAS_Pin A6_Pin A7_Pin A8_Pin
                           A9_Pin */
  GPIO_InitStruct.Pin = SDNRAS_Pin|A6_Pin|A7_Pin|A8_Pin
                          |A9_Pin;
  GPIO_InitStruct.Mode = GPIO_MODE_AF_PP;
  GPIO_InitStruct.Pull = GPIO_NOPULL;
  GPIO_InitStruct.Speed = GPIO_SPEED_FREQ_VERY_HIGH;
  GPIO_InitStruct.Alternate = GPIO_AF12_FMC;
  HAL_GPIO_Init(GPIOF, &GPIO_InitStruct);

  /*Configure GPIO pins : A10_Pin A11_Pin BA0_Pin BA1_Pin
                           SDCLK_Pin SDNCAS_Pin */
  GPIO_InitStruct.Pin = A10_Pin|A11_Pin|BA0_Pin|BA1_Pin
                          |SDCLK_Pin|SDNCAS_Pin;
  GPIO_InitStruct.Mode = GPIO_MODE_AF_PP;
  GPIO_InitStruct.Pull = GPIO_NOPULL;
  GPIO_InitStruct.Speed = GPIO_SPEED_FREQ_VERY_HIGH;
  GPIO_InitStruct.Alternate = GPIO_AF12_FMC;
  HAL_GPIO_Init(GPIOG, &GPIO_InitStruct);

  /*Configure GPIO pins : D4_Pin D5_Pin D6_Pin D7_Pin
                           D8_Pin D9_Pin D10_Pin D11_Pin
                           D12_Pin NBL0_Pin NBL1_Pin */
  GPIO_InitStruct.Pin = D4_Pin|D5_Pin|D6_Pin|D7_Pin
                          |D8_Pin|D9_Pin|D10_Pin|D11_Pin
                          |D12_Pin|NBL0_Pin|NBL1_Pin;
  GPIO_InitStruct.Mode = GPIO_MODE_AF_PP;
  GPIO_InitStruct.Pull = GPIO_NOPULL;
  GPIO_InitStruct.Speed = GPIO_SPEED_FREQ_VERY_HIGH;
  GPIO_InitStruct.Alternate = GPIO_AF12_FMC;
  HAL_GPIO_Init(GPIOE, &GPIO_InitStruct);

  /*Configure GPIO pins : G4_Pin G5_Pin B6_Pin B7_Pin */
  GPIO_InitStruct.Pin = G4_Pin|G5_Pin|B6_Pin|B7_Pin;
  GPIO_InitStruct.Mode = GPIO_MODE_AF_PP;
  GPIO_InitStruct.Pull = GPIO_NOPULL;
  GPIO_InitStruct.Speed = GPIO_SPEED_FREQ_LOW;
  GPIO_InitStruct.Alternate = GPIO_AF14_LTDC;
  HAL_GPIO_Init(GPIOB, &GPIO_InitStruct);

  /*Configure GPIO pins : OTG_HS_ID_Pin OTG_HS_DM_Pin OTG_HS_DP_Pin */
  GPIO_InitStruct.Pin = OTG_HS_ID_Pin|OTG_HS_DM_Pin|OTG_HS_DP_Pin;
  GPIO_InitStruct.Mode = GPIO_MODE_AF_PP;
  GPIO_InitStruct.Pull = GPIO_NOPULL;
  GPIO_InitStruct.Speed = GPIO_SPEED_FREQ_LOW;
  GPIO_InitStruct.Alternate = GPIO_AF12_OTG_HS_FS;
  HAL_GPIO_Init(GPIOB, &GPIO_InitStruct);

  /*Configure GPIO pin : VBUS_HS_Pin */
  GPIO_InitStruct.Pin = VBUS_HS_Pin;
  GPIO_InitStruct.Mode = GPIO_MODE_INPUT;
  GPIO_InitStruct.Pull = GPIO_NOPULL;
  HAL_GPIO_Init(VBUS_HS_GPIO_Port, &GPIO_InitStruct);

  /*Configure GPIO pins : D13_Pin D14_Pin D15_Pin D0_Pin
                           D1_Pin D2_Pin D3_Pin */
  GPIO_InitStruct.Pin = D13_Pin|D14_Pin|D15_Pin|D0_Pin
                          |D1_Pin|D2_Pin|D3_Pin;
  GPIO_InitStruct.Mode = GPIO_MODE_AF_PP;
  GPIO_InitStruct.Pull = GPIO_NOPULL;
  GPIO_InitStruct.Speed = GPIO_SPEED_FREQ_VERY_HIGH;
  GPIO_InitStruct.Alternate = GPIO_AF12_FMC;
  HAL_GPIO_Init(GPIOD, &GPIO_InitStruct);

  /*Configure GPIO pins : R7_Pin DOTCLK_Pin B3_Pin */
  GPIO_InitStruct.Pin = R7_Pin|DOTCLK_Pin|B3_Pin;
  GPIO_InitStruct.Mode = GPIO_MODE_AF_PP;
  GPIO_InitStruct.Pull = GPIO_NOPULL;
  GPIO_InitStruct.Speed = GPIO_SPEED_FREQ_LOW;
  GPIO_InitStruct.Alternate = GPIO_AF14_LTDC;
  HAL_GPIO_Init(GPIOG, &GPIO_InitStruct);

  /*Configure GPIO pins : HSYNC_Pin G6_Pin R2_Pin */
  GPIO_InitStruct.Pin = HSYNC_Pin|G6_Pin|R2_Pin;
  GPIO_InitStruct.Mode = GPIO_MODE_AF_PP;
  GPIO_InitStruct.Pull = GPIO_NOPULL;
  GPIO_InitStruct.Speed = GPIO_SPEED_FREQ_LOW;
  GPIO_InitStruct.Alternate = GPIO_AF14_LTDC;
  HAL_GPIO_Init(GPIOC, &GPIO_InitStruct);

  /*Configure GPIO pin : I2C3_SDA_Pin */
  GPIO_InitStruct.Pin = I2C3_SDA_Pin;
  GPIO_InitStruct.Mode = GPIO_MODE_AF_OD;
  GPIO_InitStruct.Pull = GPIO_NOPULL;
  GPIO_InitStruct.Speed = GPIO_SPEED_FREQ_LOW;
  GPIO_InitStruct.Alternate = GPIO_AF4_I2C3;
  HAL_GPIO_Init(I2C3_SDA_GPIO_Port, &GPIO_InitStruct);

  /*Configure GPIO pin : I2C3_SCL_Pin */
  GPIO_InitStruct.Pin = I2C3_SCL_Pin;
  GPIO_InitStruct.Mode = GPIO_MODE_AF_OD;
  GPIO_InitStruct.Pull = GPIO_NOPULL;
  GPIO_InitStruct.Speed = GPIO_SPEED_FREQ_LOW;
  GPIO_InitStruct.Alternate = GPIO_AF4_I2C3;
  HAL_GPIO_Init(I2C3_SCL_GPIO_Port, &GPIO_InitStruct);

  /*Configure GPIO pins : STLINK_RX_Pin STLINK_TX_Pin */
  GPIO_InitStruct.Pin = STLINK_RX_Pin|STLINK_TX_Pin;
  GPIO_InitStruct.Mode = GPIO_MODE_AF_PP;
  GPIO_InitStruct.Pull = GPIO_NOPULL;
  GPIO_InitStruct.Speed = GPIO_SPEED_FREQ_VERY_HIGH;
  GPIO_InitStruct.Alternate = GPIO_AF7_USART1;
  HAL_GPIO_Init(GPIOA, &GPIO_InitStruct);

  /*Configure GPIO pins : G7_Pin B2_Pin */
  GPIO_InitStruct.Pin = G7_Pin|B2_Pin;
  GPIO_InitStruct.Mode = GPIO_MODE_AF_PP;
  GPIO_InitStruct.Pull = GPIO_NOPULL;
  GPIO_InitStruct.Speed = GPIO_SPEED_FREQ_LOW;
  GPIO_InitStruct.Alternate = GPIO_AF14_LTDC;
  HAL_GPIO_Init(GPIOD, &GPIO_InitStruct);

  /*Configure GPIO pins : G3_Pin B4_Pin */
  GPIO_InitStruct.Pin = G3_Pin|B4_Pin;
  GPIO_InitStruct.Mode = GPIO_MODE_AF_PP;
  GPIO_InitStruct.Pull = GPIO_NOPULL;
  GPIO_InitStruct.Speed = GPIO_SPEED_FREQ_LOW;
  GPIO_InitStruct.Alternate = GPIO_AF9_LTDC;
  HAL_GPIO_Init(GPIOG, &GPIO_InitStruct);

  /*Configure GPIO pins : LD3_Pin LD4_Pin */
  GPIO_InitStruct.Pin = LD3_Pin|LD4_Pin;
  GPIO_InitStruct.Mode = GPIO_MODE_OUTPUT_PP;
  GPIO_InitStruct.Pull = GPIO_NOPULL;
  GPIO_InitStruct.Speed = GPIO_SPEED_FREQ_LOW;
  HAL_GPIO_Init(GPIOG, &GPIO_InitStruct);

  /*Configure GPIO pins : SDCKE1_Pin SDNE1_Pin */
  GPIO_InitStruct.Pin = SDCKE1_Pin|SDNE1_Pin;
  GPIO_InitStruct.Mode = GPIO_MODE_AF_PP;
  GPIO_InitStruct.Pull = GPIO_NOPULL;
  GPIO_InitStruct.Speed = GPIO_SPEED_FREQ_VERY_HIGH;
  GPIO_InitStruct.Alternate = GPIO_AF12_FMC;
  HAL_GPIO_Init(GPIOB, &GPIO_InitStruct);

  /* EXTI interrupt init*/
  HAL_NVIC_SetPriority(EXTI1_IRQn, 0, 0);
  HAL_NVIC_EnableIRQ(EXTI1_IRQn);

}

/* USER CODE BEGIN 4 */
	//extern void touchgfxSignalVSync(void);
void HAL_TIM_PeriodElapsedCallback(TIM_HandleTypeDef *htim)
{
  /* USER CODE BEGIN Callback 0 */
	extern void touchgfxSignalVSync(void);
		if (htim->Instance == TIM2) {
		touchgfxSignalVSync();
	}

  /* USER CODE END Callback 0 */
  if (htim->Instance == TIM11) {
    HAL_IncTick();
  }
  /* USER CODE BEGIN Callback 1 */

  /* USER CODE END Callback 1 */
}
/* USER CODE END 4 */

//void HAL_TIM_PeriodElapsedCallback(TIM_HandleTypeDef *htim)
//{
//  /* USER CODE BEGIN Callback 0 */
//	extern void touchgfxSignalVSync(void);
//		if (htim->Instance == TIM2) {
//		touchgfxSignalVSync();
//	}

//  /* USER CODE END Callback 0 */
//  if (htim->Instance == TIM11) {
//    HAL_IncTick();
//  }
//  /* USER CODE BEGIN Callback 1 */

//  /* USER CODE END Callback 1 */
//}

void Error_Handler(void)
{
  __disable_irq();
  while (1)
  {
  }
}
